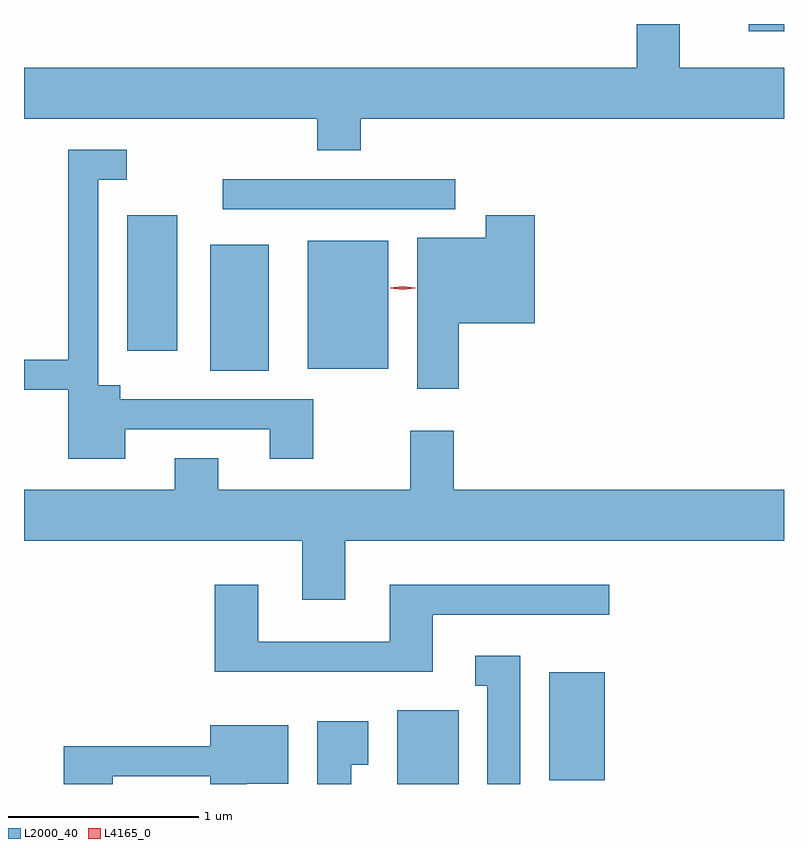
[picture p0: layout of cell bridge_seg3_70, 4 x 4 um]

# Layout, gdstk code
import gdstk
lib = gdstk.Library(unit=1e-6, precision=1e-09)
def R(c, l, rs):  # rectangles x0, y0, x1, y1
    for r in rs: c.add(gdstk.rectangle(r[:2], r[2:], *l))
def P(c, l, *ps):  # polygons
    for p in ps: c.add(gdstk.Polygon(p, *l))
L2000_40 = (2000, 40)
L4165_0 = (4165, 0)

bridge_seg3_70 = lib.new_cell('bridge_seg3_70')
R(bridge_seg3_70, L2000_40, [(1139.801,1242.395,1140.124,1242.784), (1140.601,1242.416,1140.894,1242.984), (1138.816,1244.571,1139.124,1245.234), (1139.331,1244.581,1139.754,1245.254), (1138.381,1244.676,1138.644,1245.389), (1138.883,1245.421,1140.108,1245.579), (1141.651,1246.356,1141.837,1246.395)])
P(bridge_seg3_70, L2000_40, [(1139.609,1245.896),(1141.837,1245.896),(1141.837,1246.164),(1141.289,1246.164),(1141.289,1246.395),(1141.061,1246.395),(1141.061,1246.164),(1137.837,1246.164),(1137.837,1245.896),(1139.381,1245.896),(1139.381,1245.731),(1139.609,1245.731)],
  [(1138.369,1244.261),(1139.131,1244.261),(1139.131,1244.106),(1139.359,1244.106),(1139.359,1244.419),(1138.344,1244.419),(1138.344,1244.494),(1138.229,1244.494),(1138.229,1245.576),(1138.378,1245.576),(1138.378,1245.734),(1138.071,1245.734),(1138.071,1244.629),(1137.837,1244.629),(1137.837,1244.471),(1138.071,1244.471),(1138.071,1244.106),(1138.369,1244.106)],
  [(1140.124,1244.821),(1140.524,1244.821),(1140.524,1245.389),(1140.266,1245.389),(1140.266,1245.269),(1139.906,1245.269),(1139.906,1244.476),(1140.124,1244.476)],
  [(1139.529,1243.676),(1141.837,1243.676),(1141.837,1243.944),(1140.099,1243.944),(1140.099,1244.254),(1139.871,1244.254),(1139.871,1243.944),(1138.859,1243.944),(1138.859,1244.109),(1138.631,1244.109),(1138.631,1243.944),(1137.837,1243.944),(1137.837,1243.676),(1139.301,1243.676),(1139.301,1243.366),(1139.529,1243.366)],
  [(1139.989,1243.286),(1140.918,1243.286),(1140.918,1243.444),(1139.761,1243.444),(1139.761,1243.144),(1139.069,1243.144),(1139.069,1243.444),(1138.841,1243.444),(1138.841,1242.986),(1139.989,1242.986)],
  [(1140.449,1243.069),(1140.213,1243.069),(1140.213,1242.911),(1140.276,1242.911),(1140.276,1242.395),(1140.449,1242.395)],
  [(1139.559,1242.496),(1139.649,1242.496),(1139.649,1242.724),(1139.381,1242.724),(1139.381,1242.395),(1139.559,1242.395)],
  [(1138.304,1242.436),(1138.816,1242.436),(1138.816,1242.395),(1139.01,1242.395),(1139.01,1242.396),(1139.229,1242.396),(1139.229,1242.704),(1138.816,1242.704),(1138.816,1242.594),(1138.046,1242.594),(1138.046,1242.395),(1138.304,1242.395)])
P(bridge_seg3_70, L4165_0, [(1139.83,1244.996),(1139.764,1245.005),(1139.764,1245.006),(1139.764,1245.006),(1139.83,1245.016),(1139.896,1245.006),(1139.897,1245.006),(1139.896,1245.005)])

lib.write_gds('bridge_seg3_70.gds')
